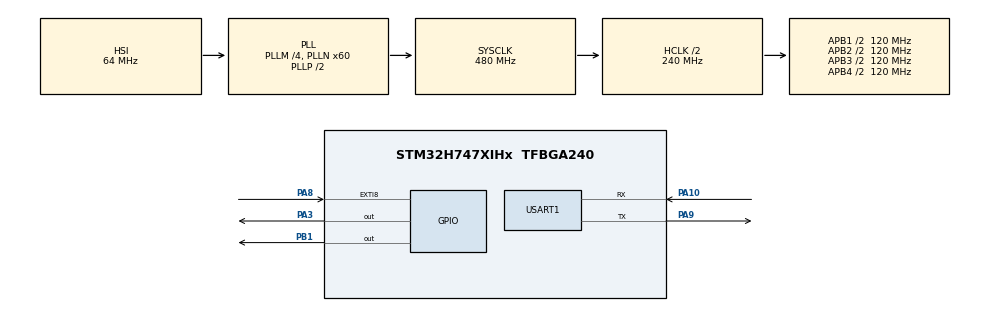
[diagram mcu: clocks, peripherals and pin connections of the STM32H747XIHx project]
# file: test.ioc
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CORTEX_M7.default_mode_Activation=1
CortexM4.IPs=CORTEX_M4\:I,FATFS_M4\:I,FREERTOS_M4\:I,IWDG2\:I,OPENAMP_M4\:I,PDM2PCM_M4\:I,PWR,RCC,RESMGR_UTILITY,SYS_M4\:I,USB_DEVICE_M4\:I,USB_HOST_M4\:I,VREFBUF,WWDG2\:I,GPIO,DMA,BDMA,MDMA,NVIC2\:I
CortexM7.IPs=CORTEX_M7\:I,FATFS_M7\:I,FREERTOS_M7\:I,IWDG1\:I,OPENAMP_M7\:I,PDM2PCM_M7\:I,PWR\:I,RCC\:I,RESMGR_UTILITY\:I,SYS\:I,USB_DEVICE_M7\:I,USB_HOST_M7\:I,VREFBUF\:I,WWDG1\:I,GPIO\:I,DMA\:I,BDMA\:I,MDMA\:I,NVIC1\:I,USART1\:I
CortexM7.Pins=PA8,PB1,PA3
Dma.Request0=USART1_TX
Dma.Request1=USART1_RX
Dma.USART1_RX.1.Direction=DMA_PERIPH_TO_MEMORY
Dma.USART1_RX.1.EventEnable=DISABLE
Dma.USART1_RX.1.FIFOMode=DMA_FIFOMODE_DISABLE
Dma.USART1_RX.1.Instance=DMA1_Stream1
Dma.USART1_RX.1.MemDataAlignment=DMA_MDATAALIGN_BYTE
Dma.USART1_RX.1.MemInc=DMA_MINC_ENABLE
Dma.USART1_RX.1.Mode=DMA_NORMAL
Dma.USART1_RX.1.PeriphDataAlignment=DMA_PDATAALIGN_BYTE
Dma.USART1_RX.1.PeriphInc=DMA_PINC_DISABLE
Dma.USART1_RX.1.Polarity=HAL_DMAMUX_REQ_GEN_RISING
Dma.USART1_RX.1.Priority=DMA_PRIORITY_LOW
Dma.USART1_RX.1.RequestNumber=1
Dma.USART1_RX.1.SignalID=NONE
Dma.USART1_RX.1.SyncEnable=DISABLE
Dma.USART1_RX.1.SyncPolarity=HAL_DMAMUX_SYNC_NO_EVENT
Dma.USART1_RX.1.SyncRequestNumber=1
Dma.USART1_RX.1.SyncSignalID=NONE
Dma.USART1_TX.0.Direction=DMA_MEMORY_TO_PERIPH
Dma.USART1_TX.0.EventEnable=DISABLE
Dma.USART1_TX.0.FIFOMode=DMA_FIFOMODE_DISABLE
Dma.USART1_TX.0.Instance=DMA1_Stream0
Dma.USART1_TX.0.MemDataAlignment=DMA_MDATAALIGN_BYTE
Dma.USART1_TX.0.MemInc=DMA_MINC_ENABLE
Dma.USART1_TX.0.Mode=DMA_NORMAL
Dma.USART1_TX.0.PeriphDataAlignment=DMA_PDATAALIGN_BYTE
Dma.USART1_TX.0.PeriphInc=DMA_PINC_DISABLE
Dma.USART1_TX.0.Polarity=HAL_DMAMUX_REQ_GEN_RISING
Dma.USART1_TX.0.Priority=DMA_PRIORITY_LOW
Dma.USART1_TX.0.RequestNumber=1
Dma.USART1_TX.0.SignalID=NONE
Dma.USART1_TX.0.SyncEnable=DISABLE
Dma.USART1_TX.0.SyncPolarity=HAL_DMAMUX_SYNC_NO_EVENT
Dma.USART1_TX.0.SyncRequestNumber=1
Dma.USART1_TX.0.SyncSignalID=NONE
Mcu.Family=STM32H7
Mcu.Name=STM32H747XIHx
Mcu.Package=TFBGA240
NVIC1.DMA1_Stream0_IRQn=true\:0\:0\:false\:false\:true\:false\:true\:true
NVIC1.DMA1_Stream1_IRQn=true\:0\:0\:false\:false\:true\:false\:true\:true
NVIC1.EXTI9_5_IRQn=true\:0\:0\:false\:false\:true\:true\:true\:true
NVIC1.PriorityGroup=NVIC_PRIORITYGROUP_4
NVIC1.USART1_IRQn=true\:0\:0\:false\:false\:true\:true\:true\:true
NVIC2.PriorityGroup=NVIC_PRIORITYGROUP_4
PA10.Mode=Asynchronous
PA10.PinAttribute=CortexM7
PA10.Signal=USART1_RX
PA3.PinAttribute=CortexM7
PA3.PinState=GPIO_PIN_SET
PA3.Signal=GPIO_Output
PA8.GPIO_ModeDefaultEXTI=GPIO_MODE_IT_RISING
PA8.GPIO_PuPd=GPIO_PULLDOWN
PA8.PinAttribute=CortexM7
PA8.Signal=GPXTI8
PA9.Mode=Asynchronous
PA9.PinAttribute=CortexM7
PA9.Signal=USART1_TX
PB1.PinAttribute=CortexM7
PB1.PinState=GPIO_PIN_SET
PB1.Signal=GPIO_Output
ProjectManager.HeapSize=M4-0x200,M7-0x200
ProjectManager.StackSize=M4-0x400,M7-0x400
ProjectManager.TargetToolchain=Makefile
RCC.ADCFreq_Value=129000000
RCC.APB1Freq_Value=120000000
RCC.APB2Freq_Value=120000000
RCC.APB3Freq_Value=120000000
RCC.APB4Freq_Value=120000000
RCC.CortexFreq_Value=480000000
RCC.D1PPRE=RCC_APB3_DIV2
RCC.D2PPRE1=RCC_APB1_DIV2
RCC.D2PPRE2=RCC_APB2_DIV2
RCC.D3PPRE=RCC_APB4_DIV2
RCC.DIVM1=4
RCC.DIVN1=60
RCC.HCLKFreq_Value=240000000
RCC.HPRE=RCC_HCLK_DIV2
RCC.PLL2FRACN=0
RCC.PLL3FRACN=0
RCC.PLLFRACN=0
RCC.SYSCLKFreq_VALUE=480000000
RCC.SYSCLKSource=RCC_SYSCLKSOURCE_PLLCLK
RCC.USBFreq_Value=480000000
SYS.userName=SYS_M7
USART1.VirtualMode-Asynchronous=VM_ASYNC
VP_SYS_M4_VS_Systick.Mode=SysTick
board=custom

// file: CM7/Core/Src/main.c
/* USER CODE BEGIN Header */
/**
 ******************************************************************************
 * @file           : main.c
 * @brief          : Main program body
 ******************************************************************************
 * @attention
 *
 * Copyright (c) 2026 STMicroelectronics.
 * All rights reserved.
 *
 * This software is licensed under terms that can be found in the LICENSE file
 * in the root directory of this software component.
 * If no LICENSE file comes with this software, it is provided AS-IS.
 *
 ******************************************************************************
 */
/* USER CODE END Header */
#include "main.h"
#include "dma.h"
#include "usart.h"
#include "gpio.h"

/* USER CODE BEGIN Includes */
#include <string.h>
/* USER CODE END Includes */

/* USER CODE BEGIN PD */
#define UART1_RX_BUFFER_SIZE 100U
#define DCACHE_LINE_SIZE 32U

#ifndef HSEM_ID_0
#define HSEM_ID_0 (0U) /* HW semaphore 0*/
#endif

/* USER CODE END PD */

void SystemClock_Config(void);

/* USER CODE BEGIN 0 */
__attribute__((section(".dma_buffer"), aligned(DCACHE_LINE_SIZE))) static uint8_t Rx_data[UART1_RX_BUFFER_SIZE];

// 串口返回固定提示字符串
static const uint8_t uart_led_on_msg[] = "LED ON\r\n";
static const uint8_t uart_led_off_msg[] = "LED OFF\r\n";

/* 对 UART1 接收缓冲区做 D-Cache 失效处理
 * 原因:
 * DMA 接收数据时，数据是直接写到 RAM 中的，
 * 但 CPU 读取时可能还在读旧的 Cache 数据。
 * 所以在读取 Rx_data 之前，需要先把这段缓存失效，
 * 让 CPU 下一次读取时重新从 RAM 取最新数据。
 *
 * 这里之所以要重新计算对齐地址和对齐长度，
 * 是因为 SCB_InvalidateDCache_by_Addr() 通常要求
 * 地址和长度按 Cache Line 对齐。
 */
static void UART1_InvalidateRxBufferCache(void)
{
  // 原始缓冲区起始地址
  uint32_t addr = (uint32_t)Rx_data;

  // 向下对齐到 Cache Line 边界
  uint32_t aligned_addr = addr & ~(DCACHE_LINE_SIZE - 1U);

  // 计算覆盖整个缓冲区所需的对其长度
  // 先算出 [aligned_size, Rx_data结束地址] 的实际跨度
  // 再向上对齐到 Cache Line 的整数倍
  uint32_t aligned_size = (((addr + UART1_RX_BUFFER_SIZE) - aligned_addr) + (DCACHE_LINE_SIZE - 1U)) & ~(DCACHE_LINE_SIZE - 1U);

  // 使这一段 D-cache 失效，确保后续读取的是 DMA 写入 RAM 的最新数据
  SCB_InvalidateDCache_by_Addr((uint32_t *)aligned_addr, (int32_t)aligned_size);
}

/* 启动 UART1 的 ReceiveToIdle DMA 接收
 *
 * ReceiveToIdle 模式含义:
 * DMA 持续接收数据，一旦检测到串口空闲 (Idle) 或者缓冲区满，
 * 就触发回调 HAL_UARTEx_RxEventCallback()。
 */
static void UART1_StartReceiveToIdle(void)
{
  /* 启动接收前先失效接收缓冲区对应的 Cache，
   * 避免 CPU 后面读到旧缓存内容
   */
  UART1_InvalidateRxBufferCache();

  /* 启动 UART DMA 空闲接收 */
  if (HAL_UARTEx_ReceiveToIdle_DMA(&huart1, Rx_data, UART1_RX_BUFFER_SIZE) != HAL_OK)
  {
    Error_Handler();
  }

  /* 关闭 DMA 半传输中断
   * 这里只关心"接收完成/空闲事件"，不需要处理中途一半的数据
   */
  __HAL_DMA_DISABLE_IT(huart1.hdmarx, DMA_IT_HT);
}

/* UART1 的 DMA 空闲接收事件回调
 *
 * 当满足以下条件之一时会进入这里：
 * 1. 检测到串口空闲
 * 2. DMA 缓冲区接收满
 *
 * Size 表示本次实际接收到的字节数
 */
void HAL_UARTEx_RxEventCallback(UART_HandleTypeDef *huart, uint16_t Size)
{
  // 本地命令缓冲区，多留 1 个字节给字符串结束符 '\0'
  char cmd[UART1_RX_BUFFER_SIZE + 1U];
  uint16_t copy_size;

  // 只处理 USART1 的接收事件
  if (huart->Instance == USART1)
  {
    // DMA 已经把数据写入 RAM
    // 这里再次失效 Cache，确保 CPU 读取到的是最新的数据
    UART1_InvalidateRxBufferCache();

    // 做长度保护，避免越界
    copy_size = Size;
    if (copy_size > UART1_RX_BUFFER_SIZE)
    {
      copy_size = UART1_RX_BUFFER_SIZE;
    }

    // 将 DMA 接收到的数据拷贝到本地缓冲区
    memcpy(cmd, Rx_data, copy_size);
    // 手动补字符串结束符，方便后面用 strstr 做字符串匹配
    cmd[copy_size] = '\0';

    // 判断是否收到
    if (strstr(cmd, "LED ON") != NULL)
    {
      // 通过 DMA 异步发送返回消息
      HAL_UART_Transmit_DMA(&huart1, uart_led_on_msg, sizeof(uart_led_on_msg) - 1U);
    }
    else if (strstr(cmd, "LED OFF") != NULL)
    {
      HAL_UART_Transmit_DMA(&huart1, uart_led_off_msg, sizeof(uart_led_off_msg) - 1U);
    }

    // 重新开启下一轮空闲接收
    UART1_StartReceiveToIdle();
  }
}
/* USER CODE END 0 */

int main(void)
{
  /* USER CODE BEGIN 1 */
  SCB_EnableICache();
  SCB_EnableDCache();

  /* USER CODE END 1 */
  /* USER CODE BEGIN Boot_Mode_Sequence_0 */
  int32_t timeout;
  /* USER CODE END Boot_Mode_Sequence_0 */

  /* USER CODE BEGIN Boot_Mode_Sequence_1 */
  /* Wait until CPU2 boots and enters in stop mode or timeout*/
  timeout = 0xFFFF;
  while ((__HAL_RCC_GET_FLAG(RCC_FLAG_D2CKRDY) != RESET) && (timeout-- > 0))
    ;
  if (timeout < 0)
  {
    Error_Handler();
  }
  /* USER CODE END Boot_Mode_Sequence_1 */
  /* MCU Configuration--------------------------------------------------------*/

  /* Reset of all peripherals, Initializes the Flash interface and the Systick. */
  HAL_Init();

  /* Configure the system clock */
  SystemClock_Config();
  /* USER CODE BEGIN Boot_Mode_Sequence_2 */
  /* When system initialization is finished, Cortex-M7 will release Cortex-M4 by means of
  HSEM notification */
  /*HW semaphore Clock enable*/
  __HAL_RCC_HSEM_CLK_ENABLE();
  /*Take HSEM */
  HAL_HSEM_FastTake(HSEM_ID_0);
  /*Release HSEM in order to notify the CPU2(CM4)*/
  HAL_HSEM_Release(HSEM_ID_0, 0);
  /* wait until CPU2 wakes up from stop mode */
  timeout = 0xFFFF;
  while ((__HAL_RCC_GET_FLAG(RCC_FLAG_D2CKRDY) == RESET) && (timeout-- > 0))
    ;
  if (timeout < 0)
  {
    Error_Handler();
  }
  /* USER CODE END Boot_Mode_Sequence_2 */

  /* Initialize all configured peripherals */
  MX_GPIO_Init();
  MX_DMA_Init();
  MX_USART1_UART_Init();
  /* USER CODE BEGIN 2 */
  UART1_StartReceiveToIdle();
  /* USER CODE END 2 */

  /* Infinite loop */
  while (1)
  {

  }
}

void SystemClock_Config(void)
{
  RCC_OscInitTypeDef RCC_OscInitStruct = {0};
  RCC_ClkInitTypeDef RCC_ClkInitStruct = {0};

  /** Supply configuration update enable
   */
  HAL_PWREx_ConfigSupply(PWR_LDO_SUPPLY);

  /** Configure the main internal regulator output voltage
   */
  __HAL_PWR_VOLTAGESCALING_CONFIG(PWR_REGULATOR_VOLTAGE_SCALE1);

  while (!__HAL_PWR_GET_FLAG(PWR_FLAG_VOSRDY))
  {
  }

  __HAL_RCC_SYSCFG_CLK_ENABLE();
  __HAL_PWR_VOLTAGESCALING_CONFIG(PWR_REGULATOR_VOLTAGE_SCALE0);

  while (!__HAL_PWR_GET_FLAG(PWR_FLAG_VOSRDY))
  {
  }

  /** Initializes the RCC Oscillators according to the specified parameters
   * in the RCC_OscInitTypeDef structure.
   */
  RCC_OscInitStruct.OscillatorType = RCC_OSCILLATORTYPE_HSI;
  RCC_OscInitStruct.HSIState = RCC_HSI_DIV1;
  RCC_OscInitStruct.HSICalibrationValue = RCC_HSICALIBRATION_DEFAULT;
  RCC_OscInitStruct.PLL.PLLState = RCC_PLL_ON;
  RCC_OscInitStruct.PLL.PLLSource = RCC_PLLSOURCE_HSI;
  RCC_OscInitStruct.PLL.PLLM = 4;
  RCC_OscInitStruct.PLL.PLLN = 60;
  RCC_OscInitStruct.PLL.PLLP = 2;
  RCC_OscInitStruct.PLL.PLLQ = 2;
  RCC_OscInitStruct.PLL.PLLR = 2;
  RCC_OscInitStruct.PLL.PLLRGE = RCC_PLL1VCIRANGE_3;
  RCC_OscInitStruct.PLL.PLLVCOSEL = RCC_PLL1VCOWIDE;
  RCC_OscInitStruct.PLL.PLLFRACN = 0;
  if (HAL_RCC_OscConfig(&RCC_OscInitStruct) != HAL_OK)
  {
    Error_Handler();
  }

  /** Initializes the CPU, AHB and APB buses clocks
   */
  RCC_ClkInitStruct.ClockType = RCC_CLOCKTYPE_HCLK | RCC_CLOCKTYPE_SYSCLK | RCC_CLOCKTYPE_PCLK1 | RCC_CLOCKTYPE_PCLK2 | RCC_CLOCKTYPE_D3PCLK1 | RCC_CLOCKTYPE_D1PCLK1;
  RCC_ClkInitStruct.SYSCLKSource = RCC_SYSCLKSOURCE_PLLCLK;
  RCC_ClkInitStruct.SYSCLKDivider = RCC_SYSCLK_DIV1;
  RCC_ClkInitStruct.AHBCLKDivider = RCC_HCLK_DIV2;
  RCC_ClkInitStruct.APB3CLKDivider = RCC_APB3_DIV2;
  RCC_ClkInitStruct.APB1CLKDivider = RCC_APB1_DIV2;
  RCC_ClkInitStruct.APB2CLKDivider = RCC_APB2_DIV2;
  RCC_ClkInitStruct.APB4CLKDivider = RCC_APB4_DIV2;

  if (HAL_RCC_ClockConfig(&RCC_ClkInitStruct, FLASH_LATENCY_4) != HAL_OK)
  {
    Error_Handler();
  }
}

void Error_Handler(void)
{
  __disable_irq();
  while (1)
  {
  }
}
